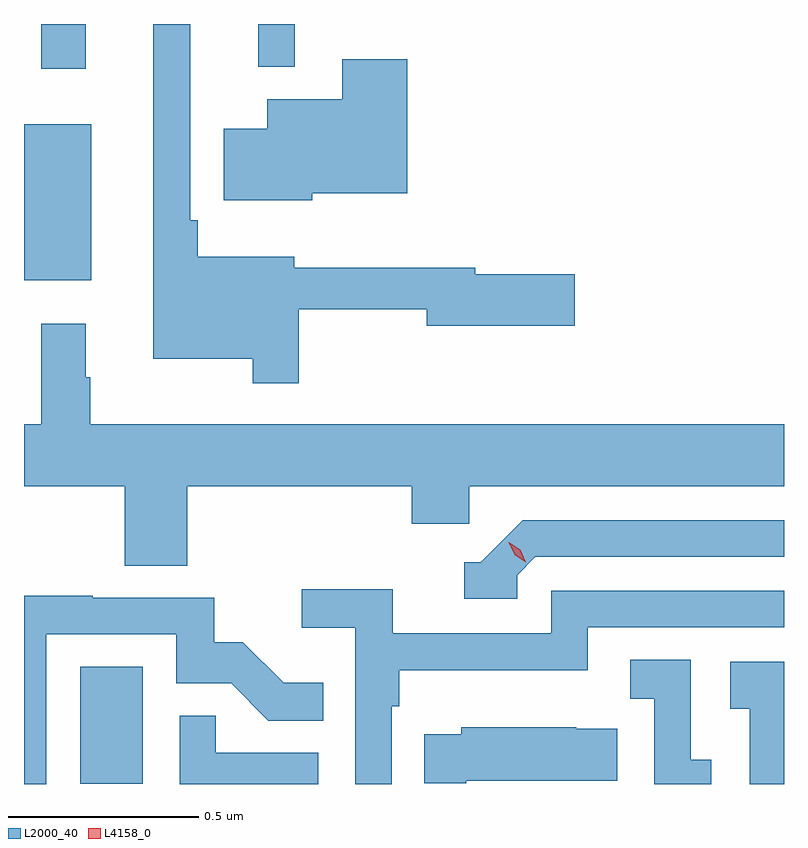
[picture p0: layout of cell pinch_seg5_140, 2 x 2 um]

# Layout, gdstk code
import gdstk
lib = gdstk.Library(unit=1e-6, precision=1e-09)
def R(c, l, rs):  # rectangles x0, y0, x1, y1
    for r in rs: c.add(gdstk.rectangle(r[:2], r[2:], *l))
def P(c, l, *ps):  # polygons
    for p in ps: c.add(gdstk.Polygon(p, *l))
L2000_40 = (2000, 40)
L4158_0 = (4158, 0)

pinch_seg5_140 = lib.new_cell('pinch_seg5_140')
R(pinch_seg5_140, L2000_40, [(1071.524,883.95,1071.688,884.257), (1071.376,885.275,1071.553,885.685), (1071.421,885.831,1071.539,885.949), (1071.992,885.836,1072.089,885.949)])
P(pinch_seg5_140, L2000_40, [(1072.099,885.198),(1072.436,885.198),(1072.436,885.155),(1072.825,885.155),(1072.825,885.29),(1072.564,885.29),(1072.564,885.308),(1072.087,885.308),(1072.087,885.337),(1071.833,885.337),(1071.833,885.433),(1071.813,885.433),(1071.813,885.949),(1071.716,885.949),(1071.716,885.068),(1071.978,885.068),(1071.978,885.003),(1072.099,885.003)],
  [(1072.134,885.503),(1072.385,885.503),(1072.385,885.856),(1072.214,885.856),(1072.214,885.751),(1072.016,885.751),(1072.016,885.673),(1071.902,885.673),(1071.902,885.485),(1072.134,885.485)],
  [(1071.55,885.02),(1071.538,885.02),(1071.538,885.16),(1071.421,885.16),(1071.421,884.896),(1071.376,884.896),(1071.376,884.732),(1071.641,884.732),(1071.641,884.524),(1071.806,884.524),(1071.806,884.732),(1072.397,884.732),(1072.397,884.634),(1072.548,884.634),(1072.548,884.732),(1073.376,884.732),(1073.376,884.896),(1071.55,884.896)],
  [(1072.674,884.499),(1072.722,884.547),(1073.376,884.547),(1073.376,884.643),(1072.689,884.643),(1072.578,884.532),(1072.535,884.532),(1072.535,884.436),(1072.674,884.436)],
  [(1072.344,884.153),(1072.364,884.153),(1072.364,884.249),(1072.86,884.249),(1072.86,884.361),(1073.376,884.361),(1073.376,884.457),(1072.764,884.457),(1072.764,884.346),(1072.346,884.346),(1072.346,884.462),(1072.107,884.462),(1072.107,884.36),(1072.248,884.36),(1072.248,883.949),(1072.344,883.949)],
  [(1071.435,884.343),(1071.777,884.343),(1071.777,884.214),(1071.921,884.214),(1072.019,884.116),(1072.163,884.116),(1072.163,884.215),(1072.059,884.215),(1071.952,884.322),(1071.876,884.322),(1071.876,884.439),(1071.557,884.439),(1071.557,884.444),(1071.376,884.444),(1071.376,883.949),(1071.435,883.949)],
  [(1073.185,884.013),(1073.13,884.013),(1073.13,884.276),(1072.971,884.276),(1072.971,884.173),(1073.034,884.173),(1073.034,883.949),(1073.185,883.949)],
  [(1073.376,884.271),(1073.235,884.271),(1073.235,884.147),(1073.286,884.147),(1073.286,883.949),(1073.376,883.949)],
  [(1072.15,884.031),(1071.881,884.031),(1071.881,884.129),(1071.786,884.129),(1071.786,883.949),(1072.15,883.949)],
  [(1072.54,883.958),(1072.937,883.958),(1072.937,884.095),(1072.829,884.095),(1072.829,884.098),(1072.527,884.098),(1072.527,884.08),(1072.429,884.08),(1072.429,883.951),(1072.54,883.951)])
P(pinch_seg5_140, L4158_0, [(1072.697,884.532),(1072.667,884.552),(1072.651,884.585),(1072.651,884.585),(1072.651,884.585),(1072.682,884.565),(1072.697,884.532),(1072.697,884.532)])

lib.write_gds('pinch_seg5_140.gds')
